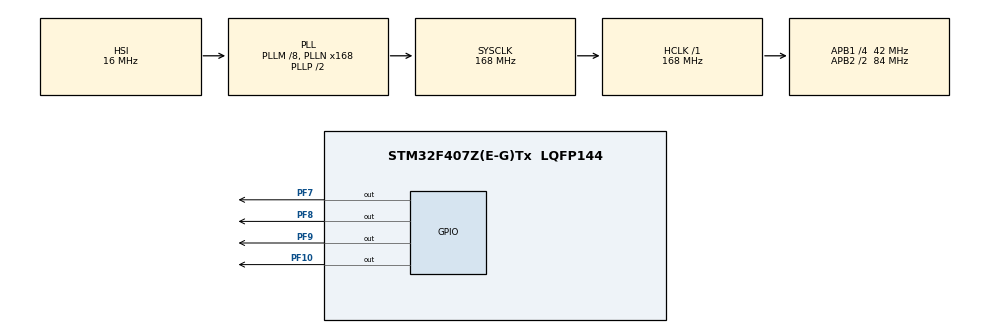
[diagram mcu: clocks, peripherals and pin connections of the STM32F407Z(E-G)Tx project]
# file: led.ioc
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Mcu.Family=STM32F4
Mcu.Name=STM32F407Z(E-G)Tx
Mcu.Package=LQFP144
NVIC.PriorityGroup=NVIC_PRIORITYGROUP_4
PA13.Mode=Serial_Wire
PA13.Signal=SYS_JTMS-SWDIO
PA14.Mode=Serial_Wire
PA14.Signal=SYS_JTCK-SWCLK
PC14-OSC32_IN.Mode=LSE-External-Oscillator
PC14-OSC32_IN.Signal=RCC_OSC32_IN
PC15-OSC32_OUT.Mode=LSE-External-Oscillator
PC15-OSC32_OUT.Signal=RCC_OSC32_OUT
PF10.PinState=GPIO_PIN_SET
PF10.Signal=GPIO_Output
PF7.PinState=GPIO_PIN_SET
PF7.Signal=GPIO_Output
PF8.PinState=GPIO_PIN_SET
PF8.Signal=GPIO_Output
PF9.PinState=GPIO_PIN_SET
PF9.Signal=GPIO_Output
PH0-OSC_IN.Mode=HSE-External-Clock-Source
PH0-OSC_IN.Signal=RCC_OSC_IN
PH1-OSC_OUT.Mode=HSE-External-Clock-Source
PH1-OSC_OUT.Signal=RCC_OSC_OUT
ProjectManager.HeapSize=0x200
ProjectManager.StackSize=0x400
ProjectManager.TargetToolchain=MDK-ARM V5
RCC.48MHZClocksFreq_Value=84000000
RCC.AHBFreq_Value=168000000
RCC.APB1CLKDivider=RCC_HCLK_DIV4
RCC.APB1Freq_Value=42000000
RCC.APB1TimFreq_Value=84000000
RCC.APB2CLKDivider=RCC_HCLK_DIV2
RCC.APB2Freq_Value=84000000
RCC.APB2TimFreq_Value=168000000
RCC.CortexFreq_Value=168000000
RCC.HCLKFreq_Value=168000000
RCC.HSE_VALUE=25000000
RCC.HSI_VALUE=16000000
RCC.PLLM=8
RCC.PLLN=168
RCC.SYSCLKFreq_VALUE=168000000
RCC.SYSCLKSource=RCC_SYSCLKSOURCE_PLLCLK
RCC.VCOOutputFreq_Value=336000000
board=custom

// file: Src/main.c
/* USER CODE BEGIN Header */
/**
  ******************************************************************************
  * @file           : main.c
  * @brief          : Main program body
  ******************************************************************************
  * @attention
  *
  * <h2><center>&copy; Copyright (c) 2019 STMicroelectronics.
  * All rights reserved.</center></h2>
  *
  * This software component is licensed by ST under BSD 3-Clause license,
  * the "License"; You may not use this file except in compliance with the
  * License. You may obtain a copy of the License at:
  *                        opensource.org/licenses/BSD-3-Clause
  *
  ******************************************************************************
  */
/* USER CODE END Header */

#include "main.h"
#include "gpio.h"

void SystemClock_Config(void);

int main(void)
{

  /* MCU Configuration--------------------------------------------------------*/

  /* Reset of all peripherals, Initializes the Flash interface and the Systick. */
  HAL_Init();

  /* Configure the system clock */
  SystemClock_Config();

  /* Initialize all configured peripherals */
  MX_GPIO_Init();

  /* Infinite loop */
  /* USER CODE BEGIN WHILE */
  while (1)
  {
		HAL_GPIO_TogglePin(GPIOF,GPIO_PIN_7);
		HAL_GPIO_TogglePin(GPIOF,GPIO_PIN_8);
		HAL_Delay(200);
		HAL_GPIO_TogglePin(GPIOF,GPIO_PIN_7);
		HAL_GPIO_TogglePin(GPIOF,GPIO_PIN_8);

		HAL_Delay(200);
		HAL_GPIO_TogglePin(GPIOF,GPIO_PIN_8);
		HAL_GPIO_TogglePin(GPIOF,GPIO_PIN_9);
		HAL_Delay(200);
		HAL_GPIO_TogglePin(GPIOF,GPIO_PIN_8);
		HAL_GPIO_TogglePin(GPIOF,GPIO_PIN_9);
		HAL_Delay(200);
		HAL_GPIO_TogglePin(GPIOF,GPIO_PIN_9);
		HAL_GPIO_TogglePin(GPIOF,GPIO_PIN_10);
		HAL_Delay(200);
		HAL_GPIO_TogglePin(GPIOF,GPIO_PIN_9);
		HAL_GPIO_TogglePin(GPIOF,GPIO_PIN_10);
		HAL_Delay(200);
		HAL_GPIO_TogglePin(GPIOF,GPIO_PIN_10);
		HAL_GPIO_TogglePin(GPIOF,GPIO_PIN_7);
		HAL_Delay(200);
		HAL_GPIO_TogglePin(GPIOF,GPIO_PIN_10);
		HAL_GPIO_TogglePin(GPIOF,GPIO_PIN_7);
    /* USER CODE END WHILE */

  }
}

void SystemClock_Config(void)
{
  RCC_OscInitTypeDef RCC_OscInitStruct = {0};
  RCC_ClkInitTypeDef RCC_ClkInitStruct = {0};

  /** Configure the main internal regulator output voltage
  */
  __HAL_RCC_PWR_CLK_ENABLE();
  __HAL_PWR_VOLTAGESCALING_CONFIG(PWR_REGULATOR_VOLTAGE_SCALE1);
  /** Initializes the CPU, AHB and APB busses clocks
  */
  RCC_OscInitStruct.OscillatorType = RCC_OSCILLATORTYPE_HSI;
  RCC_OscInitStruct.HSIState = RCC_HSI_ON;
  RCC_OscInitStruct.HSICalibrationValue = RCC_HSICALIBRATION_DEFAULT;
  RCC_OscInitStruct.PLL.PLLState = RCC_PLL_ON;
  RCC_OscInitStruct.PLL.PLLSource = RCC_PLLSOURCE_HSI;
  RCC_OscInitStruct.PLL.PLLM = 8;
  RCC_OscInitStruct.PLL.PLLN = 168;
  RCC_OscInitStruct.PLL.PLLP = RCC_PLLP_DIV2;
  RCC_OscInitStruct.PLL.PLLQ = 4;
  if (HAL_RCC_OscConfig(&RCC_OscInitStruct) != HAL_OK)
  {
    Error_Handler();
  }
  /** Initializes the CPU, AHB and APB busses clocks
  */
  RCC_ClkInitStruct.ClockType = RCC_CLOCKTYPE_HCLK|RCC_CLOCKTYPE_SYSCLK
                              |RCC_CLOCKTYPE_PCLK1|RCC_CLOCKTYPE_PCLK2;
  RCC_ClkInitStruct.SYSCLKSource = RCC_SYSCLKSOURCE_PLLCLK;
  RCC_ClkInitStruct.AHBCLKDivider = RCC_SYSCLK_DIV1;
  RCC_ClkInitStruct.APB1CLKDivider = RCC_HCLK_DIV4;
  RCC_ClkInitStruct.APB2CLKDivider = RCC_HCLK_DIV2;

  if (HAL_RCC_ClockConfig(&RCC_ClkInitStruct, FLASH_LATENCY_5) != HAL_OK)
  {
    Error_Handler();
  }
}

void Error_Handler(void)
{
}

/************************ (C) COPYRIGHT STMicroelectronics *****END OF FILE****/
